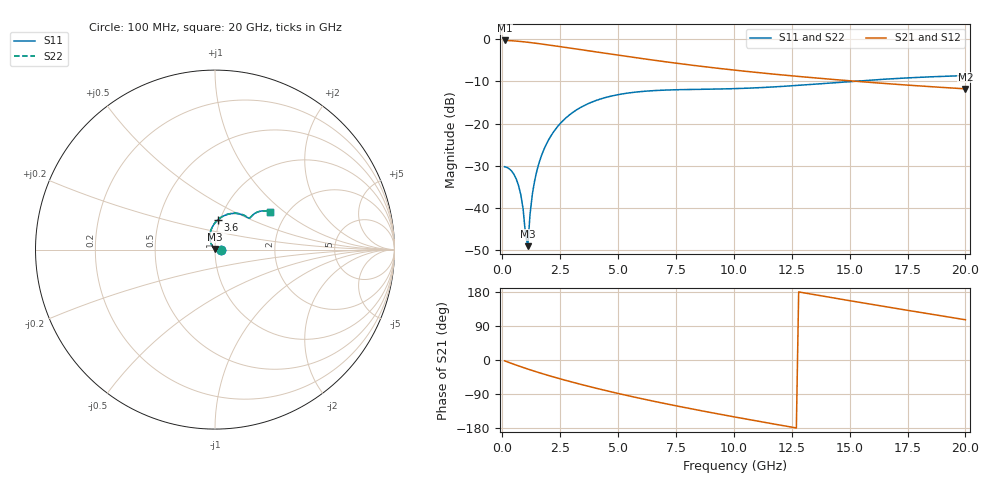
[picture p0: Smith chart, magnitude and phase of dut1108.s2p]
! Touchstone file exported from HFSS 2024.1.0
!  File:  C:/UserFiles/LocalFiles/RDL_TSV_Batchsim/temp_RDL_TSV_1108_1780102174.aedt
!  Generated:  09:00:46 AM May 30, 2026
!  Design:  RDL_TSV
!  Project:  temp_RDL_TSV_1108_1780102174
!  Setup:  Setup1
!  Solution:  Sweep
! Variables:
!  dtsv = 13.3um
!  hbump = 3um
!  htsv = 88.65um
!  ldown = 308.88um
!  lrdl = 607.21um
!  p = 40
!  p1 = 46.45um
!  rhole = 10um
!  subl = 3355.48um
!  t = 450um
!  tdown = 2.05um
!  trdl = 2.03um
!  viad = 10um
!  wdown = 16.21um
!  wrdl = 19.49um
!  xbump = 18um
# GHz S MA R 50.000000
! Terminal data exported
! Port[1] = TM1_1_T1
! Port[2] = TM1_4_T1
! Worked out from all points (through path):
!   200 points, 100 MHz to 20 GHz, reference 50 ohm
!   highest |S21| = -0.28 dB at 100 MHz (marker M1); lowest = -11.8 dB at 20 GHz (marker M2)
!   group delay of S21, straight-line fit = 33.3 ps
!   lowest |S11| = -49.1 dB at 1.1 GHz (marker M3), VSWR 1.01, Z = 50 + j0.35 ohm
!   |S11| at or under -10 dB: start of sweep to 15.08 GHz
!   |S22| runs from -48.9 to -8.6 dB; largest |S21 - S12| = 1.1e-14
!   S11 on the Smith chart (normalised r, x): 100 MHz: 1.06, -0.00; 3.6 GHz: 0.98, +0.33; 20 GHz: 1.64, +0.80
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0.1  0.03075 -1.6  0.9685 -2.3  0.9685 -2.3  0.03075 -1.6
! Gamma 0 0 0 0
! Port Impedance 50 0 50 0
0.4  0.0274 -7.7  0.9607 -9.1  0.9607 -9.1  0.02738 -7.7
0.7  0.01848 -13.7  0.9468 -15.6  0.9468 -15.6  0.01841 -13.6
0.8  0.0143 -14.1  0.9412 -17.7  0.9412 -17.7  0.01421 -14.0
0.9  0.009662 -11.3  0.9352 -19.8  0.9352 -19.8  0.009548 -11.1
1  0.004916 5.0  0.9289 -21.9  0.9289 -21.9  0.004803 6.1
1.1  0.003511 85.5  0.9223 -23.9  0.9223 -23.9  0.003609 87.9
1.2  0.008465 120.4  0.9154 -25.9  0.9154 -25.9  0.008659 120.8
1.3  0.01463 126.2  0.9084 -27.9  0.9084 -27.9  0.01487 126.4
1.5  0.02804 126.0  0.8938 -31.7  0.8938 -31.7  0.02834 126.1
1.7  0.04221 122.4  0.8788 -35.5  0.8788 -35.5  0.04258 122.5
2  0.06406 115.9  0.856 -41.0  0.856 -41.0  0.06454 115.9
2.4  0.09294 107.0  0.8258 -48.0  0.8258 -48.0  0.09356 107.0
3.5  0.1617 86.0  0.7461 -66.0  0.7461 -66.0  0.1627 86.0
3.6  0.1669 84.4  0.7392 -67.6  0.7392 -67.6  0.1679 84.4
5.2  0.2252 63.4  0.637 -91.0  0.637 -91.0  0.2267 63.5
6.8  0.2481 50.8  0.5523 -112.2  0.5523 -112.2  0.2497 50.8
8.4  0.2545 44.5  0.4848 -131.6  0.4848 -131.6  0.2562 44.4
10.1  0.2601 42.4  0.4285 -151.0  0.4285 -151.0  0.2616 42.3
13.4  0.2922 42.5  0.3502 173.3  0.3502 173.3  0.2934 42.4
16.7  0.3384 39.5  0.2965 139.2  0.2965 139.2  0.3394 39.5
20  0.3705 34.3  0.2582 106.2  0.2582 106.2  0.3715 34.4
